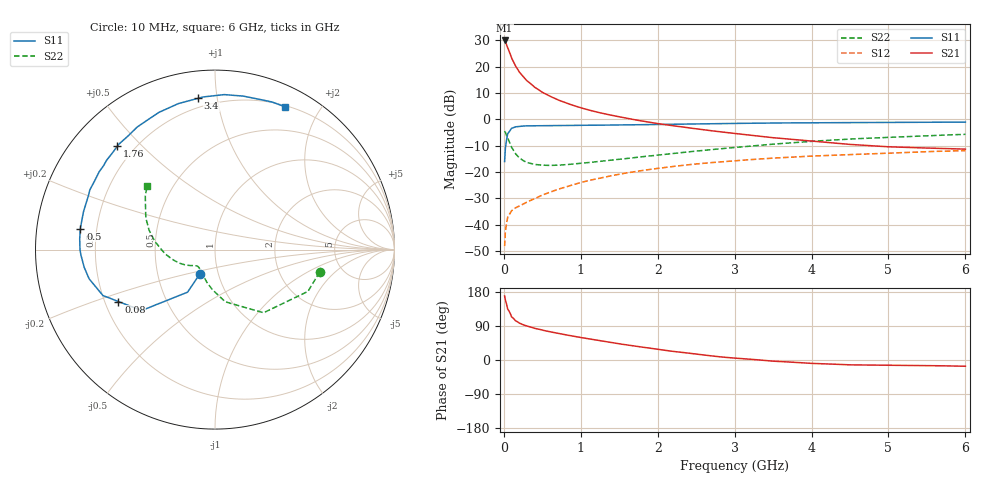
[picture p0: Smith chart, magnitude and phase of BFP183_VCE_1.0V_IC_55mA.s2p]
! Infineon Technologies  Discrete & RF Semiconductors
! BFP183
! VCE = 1.0 V,  IC =  55 mA
! Common Emitter S-Parameters:  Jan 2016
# GHz  S  MA  R  50
!  f  S11  S21  S12  S22
! GHz  MAG  ANG  MAG  ANG  MAG  ANG  MAG  ANG
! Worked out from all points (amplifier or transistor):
!   210 points, 10 MHz to 6 GHz, reference 50 ohm
!   highest |S21| = 30.0 dB at 10 MHz (marker M1)
!   |S21| within 3 dB of that: start of sweep to 54.61 MHz
!   unconditionally stable (mu >= 1): start of sweep to 41.06 MHz; 133.5 MHz to end of sweep
!   at 185 MHz: K = 1.18, MAG = 23.4 dB, |S12| = -33.2 dB
!   at 1.52 GHz: K = 1.95, MAG = 5.2 dB, |S12| = -20.7 dB
!   at 6 GHz: K = 1.56, MAG = -4.1 dB, |S12| = -11.9 dB
!   S11 on the Smith chart (normalised r, x): 10 MHz: 0.82, -0.23; 80 MHz: 0.26, -0.24; 500 MHz: 0.14, +0.08; 1.76 GHz: 0.14, +0.42; 3.4 GHz: 0.15, +0.88; 6 GHz: 0.21, +1.58
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0.01  0.158 -121.9  31.5 169.0  0.0039 64.1  0.5965 -12.1
0.02  0.2823 -122.8  30.21 158.4  0.0074 60.8  0.5679 -24.2
0.05  0.5311 -140.3  23.17 134.2  0.0138 51.6  0.444 -52.4
0.08  0.6109 -151.7  17.75 124.3  0.0164 44.3  0.3459 -65.7
0.1  0.6747 -157.7  14.62 113.9  0.0183 40.7  0.2963 -78.9
0.15  0.7202 -167.0  10.4 103.9  0.0208 40.5  0.2236 -93.8
0.2  0.7355 -172.3  7.962 97.5  0.0225 42.5  0.1868 -104.2
0.24  0.7433 -175.9  6.752 94.0  0.024 44.5  0.1692 -110.0
0.3  0.7522 -179.9  5.407 89.4  0.0269 47.5  0.1517 -117.4
0.4  0.7562 175.4  4.076 83.6  0.031 52.5  0.1392 -125.5
0.5  0.7594 171.1  3.263 78.8  0.0364 54.4  0.1347 -131.0
0.6  0.7596 167.5  2.745 74.4  0.0413 56.7  0.1334 -134.4
0.7  0.7624 164.1  2.348 70.3  0.0467 58.3  0.1345 -137.0
1.02  0.7723 153.9  1.627 58.7  0.0641 59.3  0.1471 -142.9
1.3  0.7775 146.1  1.282 49.1  0.0792 57.9  0.1624 -146.8
1.76  0.7927 133.4  0.949 35.1  0.1046 54.1  0.1926 -154.3
2.02  0.7985 126.6  0.822 27.5  0.1182 51.1  0.2107 -158.8
3.1  0.8396 102.2  0.52 3.5  0.1676 38.0  0.3005 179.4
3.4  0.8482 96.4  0.465 -1.3  0.1793 34.3  0.3281 173.9
4.1  0.8649 85.2  0.375 -9.6  0.2031 26.1  0.3904 161.8
5.1  0.8743 72.6  0.298 -14.0  0.231 16.2  0.4625 146.9
6  0.8863 63.9  0.272 -16.5  0.2543 6.3  0.5192 136.6
